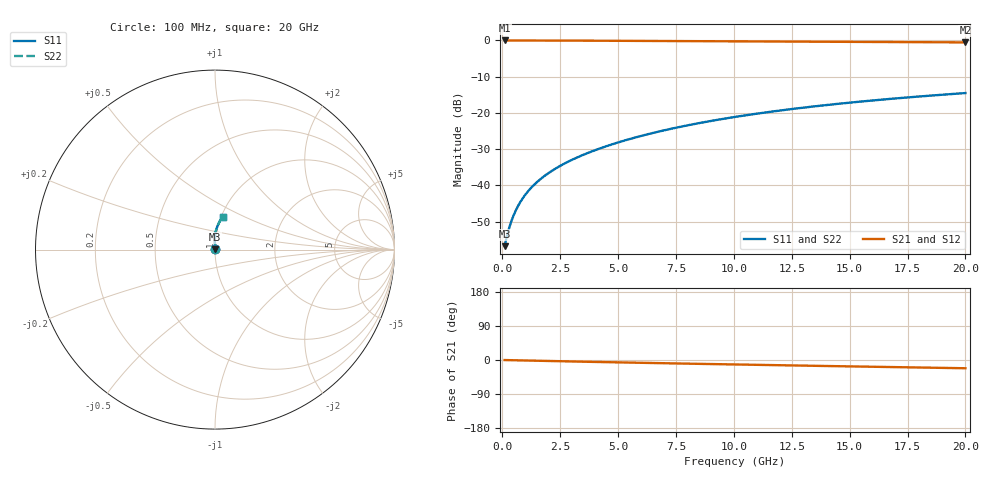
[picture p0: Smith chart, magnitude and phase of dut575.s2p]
! Touchstone file exported from HFSS 2024.1.0
!  File:  C:/UserFiles/LocalFiles/RDL_TSV_Batchsim/temp_RDL_bottom_575_1779690375.aedt
!  Generated:  02:29:03 PM May 25, 2026
!  Design:  RDL_bottom
!  Project:  temp_RDL_bottom_575_1779690375
!  Setup:  Setup1
!  Solution:  Sweep
! Variables:
!  dtsv = 10.80580581um
!  hbump = 3um
!  htsv = 54.47um
!  ldown = 330um
!  lrdl = 100um
!  p = 40
!  p1 = 44.04um
!  rhole = 1um
!  t = 450um
!  tdown = 4.79um
!  trdl = 3.915915916um
!  wdown = 24.78um
!  wrdl = 20um
# GHz S MA R 50.000000
! Terminal data exported
! Port[1] = RDL1_T1
! Port[2] = RDL1_T2
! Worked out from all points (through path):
!   200 points, 100 MHz to 20 GHz, reference 50 ohm
!   highest |S21| = -0.01 dB at 100 MHz (marker M1); lowest = -0.5 dB at 20 GHz (marker M2)
!   group delay of S21, straight-line fit = 2.98 ps
!   lowest |S11| = -56.8 dB at 100 MHz (marker M3), VSWR 1.00, Z = 50.1 + j0.0854 ohm
!   |S11| at or under -10 dB: start of sweep to end of sweep
!   |S22| runs from -56.8 to -14.5 dB; largest |S21 - S12| = 3e-15
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0.1  0.001449 36.0  0.9988 -0.1  0.9988 -0.1  0.001449 36.0
! Gamma 0 0 0 0
! Port Impedance 50 0 50 0
0.2  0.002001 51.6  0.9987 -0.3  0.9987 -0.3  0.002001 51.6
0.3  0.002608 61.0  0.9986 -0.4  0.9986 -0.4  0.002608 61.0
0.4  0.003258 67.1  0.9985 -0.5  0.9985 -0.5  0.003258 67.1
0.5  0.003935 71.2  0.9984 -0.7  0.9984 -0.7  0.003935 71.2
0.6  0.004629 74.2  0.9983 -0.8  0.9983 -0.8  0.004629 74.2
0.8  0.006043 78.2  0.9981 -1.1  0.9981 -1.1  0.006043 78.2
1.1  0.008201 81.7  0.9978 -1.4  0.9978 -1.4  0.008201 81.7
1.5  0.01111 84.5  0.9972 -2.0  0.9972 -2.0  0.01111 84.4
1.8  0.01332 85.9  0.9967 -2.4  0.9967 -2.4  0.01332 85.9
2.1  0.01556 87.0  0.9961 -2.7  0.9961 -2.7  0.01555 87.0
2.7  0.02011 88.6  0.9948 -3.5  0.9948 -3.5  0.02011 88.6
3.5  0.02642 90.1  0.9925 -4.5  0.9925 -4.5  0.02642 90.1
4.2  0.03219 91.0  0.9903 -5.3  0.9903 -5.3  0.03219 91.0
5  0.03909 91.6  0.9877 -6.3  0.9877 -6.3  0.03909 91.6
6.8  0.05567 91.6  0.9813 -8.3  0.9813 -8.3  0.05567 91.6
8.4  0.07132 90.6  0.9756 -10.1  0.9756 -10.1  0.07131 90.6
10.1  0.08848 89.0  0.9698 -11.9  0.9698 -11.9  0.08846 89.0
11.7  0.1048 87.2  0.9646 -13.5  0.9646 -13.5  0.1048 87.2
13.4  0.1222 85.2  0.9592 -15.3  0.9592 -15.3  0.1222 85.2
16.7  0.1555 81.0  0.9493 -18.5  0.9493 -18.5  0.1555 81.0
20  0.1878 77.0  0.9395 -21.8  0.9395 -21.8  0.1877 77.0
